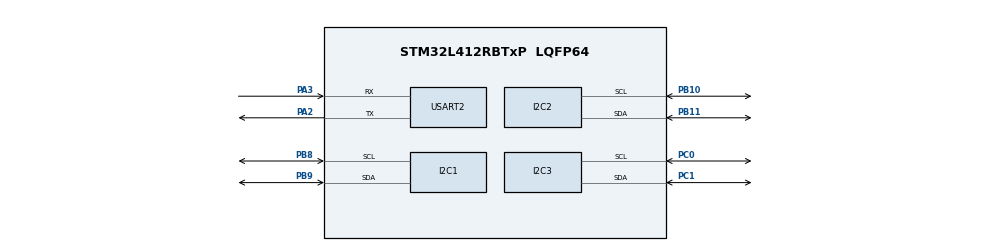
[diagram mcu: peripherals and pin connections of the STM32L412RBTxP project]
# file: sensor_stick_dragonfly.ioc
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Mcu.Family=STM32L4
Mcu.Name=STM32L412RBTxP
Mcu.Package=LQFP64
NVIC.I2C2_EV_IRQn=true\:0\:0\:false\:false\:true\:true\:true\:true
NVIC.I2C3_EV_IRQn=true\:0\:0\:false\:false\:true\:true\:true\:true
NVIC.PriorityGroup=NVIC_PRIORITYGROUP_4
PA2.Mode=Asynchronous
PA2.Signal=USART2_TX
PA3.Mode=Asynchronous
PA3.Signal=USART2_RX
PB10.Mode=I2C
PB10.Signal=I2C2_SCL
PB11.Mode=I2C
PB11.Signal=I2C2_SDA
PB8.Mode=I2C
PB8.Signal=I2C1_SCL
PB9.Mode=I2C
PB9.Signal=I2C1_SDA
PC0.Mode=I2C
PC0.Signal=I2C3_SCL
PC1.Mode=I2C
PC1.Signal=I2C3_SDA
ProjectManager.HeapSize=0x200
ProjectManager.StackSize=0x400
ProjectManager.TargetToolchain=STM32CubeIDE
RCC.ADCFreq_Value=4000000
RCC.HSE_VALUE=8000000
RCC.HSI48_VALUE=48000000
RCC.HSI_VALUE=16000000
RCC.LSE_VALUE=32768
RCC.MSI_VALUE=4000000
RCC.USBFreq_Value=4000000
RCC.VCOOutputFreq_Value=32000000
USART2.VirtualMode-Asynchronous=VM_ASYNC
board=custom

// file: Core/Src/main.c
/* USER CODE BEGIN Header */
/**
  ******************************************************************************
  * @file           : main.c
  * @brief          : Main program body
  ******************************************************************************
  * @attention
  *
  * Copyright (c) 2022 STMicroelectronics.
  * All rights reserved.
  *
  * This software is licensed under terms that can be found in the LICENSE file
  * in the root directory of this software component.
  * If no LICENSE file comes with this software, it is provided AS-IS.
  *
  ******************************************************************************
  */
/* USER CODE END Header */
#include "main.h"

/* USER CODE BEGIN Includes */
#include "iis2mdc_reg.h"
#include <stdio.h>
#include <stdlib.h>
#include <string.h>

/* USER CODE END Includes */

/* USER CODE BEGIN PTD */
typedef union {
	int16_t i16bit[3];
} axis3bit16_t;

/* USER CODE END PTD */

/* USER CODE BEGIN PD */
#define MAG_BUS hi2c1

#define    BOOT_TIME       20 //ms

#define SELF_TEST_SAMPLES 50

#define ST_MIN_POS    15.0f
#define ST_MAX_POS    500.0f
/* USER CODE END PD */

I2C_HandleTypeDef hi2c1;
I2C_HandleTypeDef hi2c2;
I2C_HandleTypeDef hi2c3;

UART_HandleTypeDef huart2;

/* USER CODE BEGIN PV */
static axis3bit16_t data_raw_magnetic[SELF_TEST_SAMPLES];
static float magnetic_mG[SELF_TEST_SAMPLES][3];
static uint8_t whoamI, rst;
static uint8_t tx_buffer[1000];

static const uint8_t DP_ADDR = 0x28<<1; // Use 8-bit address
static const uint8_t REG_DP = 0x00;

/* USER CODE END PV */

void SystemClock_Config(void);
static void MX_GPIO_Init(void);
static void MX_I2C1_Init(void);
static void MX_USART2_UART_Init(void);
static void MX_I2C3_Init(void);
static void MX_I2C2_Init(void);
/* USER CODE BEGIN PFP */
static int32_t platform_write(void *handle, uint8_t reg, const uint8_t *bufp, uint16_t len);
static int32_t platform_read(void *handle, uint8_t reg, uint8_t *bufp, uint16_t len);
static void tx_com(uint8_t *tx_buffer, uint16_t len);
static void platform_delay(uint32_t ms);
/* USER CODE END PFP */

/* USER CODE BEGIN 0 */
static inline float ABSF(float _x){
	return (_x < 0.0f) ? -(_x) : _x;
}

static int iis2mdc_flush_samples(stmdev_ctx_t *dev_ctx){
	uint8_t reg;
	axis3bit16_t dummy;
	int samples = 0;

	iis2mdc_mag_data_ready_get(dev_ctx, &reg);

	if(reg){
		iis2mdc_magnetic_raw_get(dev_ctx, dummy.i16bit);
		samples++;
	}

	return samples;
}

static int test_self_test_iis2mdc(stmdev_ctx_t *dev_ctx)
{
  uint8_t reg;
  float media[3] = { 0.0f, 0.0f, 0.0f };
  float mediast[3] = { 0.0f, 0.0f, 0.0f };
  uint8_t match[3] = { 0, 0, 0 };
  uint8_t j = 0;
  uint16_t i = 0;
  uint8_t k = 0;
  uint8_t axis;
  int result = 0;
  /* Restore default configuration */
  iis2mdc_reset_set(dev_ctx, PROPERTY_ENABLE);

  do {
    iis2mdc_reset_get(dev_ctx, &rst);
  } while (rst);

  iis2mdc_block_data_update_set(dev_ctx, PROPERTY_ENABLE);
  /* Set / Reset sensor mode */
  iis2mdc_set_rst_mode_set(dev_ctx, IIS2MDC_SENS_OFF_CANC_EVERY_ODR);
  /* Enable temperature compensation */
  iis2mdc_offset_temp_comp_set(dev_ctx, PROPERTY_ENABLE);
  /* Set device in continuous mode */
  iis2mdc_operating_mode_set(dev_ctx, IIS2MDC_CONTINUOUS_MODE);
  /* Set Output Data Rate to 100 Hz */
  iis2mdc_data_rate_set(dev_ctx, IIS2MDC_ODR_100Hz);
  /* Power up and wait for 20 ms for stable output */
  platform_delay(20);
  /* Flush old samples */
  iis2mdc_flush_samples(dev_ctx);

  do {
    iis2mdc_mag_data_ready_get(dev_ctx, &reg);

    if (reg) {
      /* Read magnetic field data */
      memset(data_raw_magnetic[i].i16bit, 0x00, 3 * sizeof(int16_t));
      iis2mdc_magnetic_raw_get(dev_ctx, data_raw_magnetic[i].i16bit);

      for (axis = 0; axis < 3; axis++)
        magnetic_mG[i][axis] =
          iis2mdc_from_lsb_to_mgauss(data_raw_magnetic[i].i16bit[axis]);

      i++;
    }
  } while (i < SELF_TEST_SAMPLES);

  for (k = 0; k < 3; k++) {
    for (j = 0; j < SELF_TEST_SAMPLES; j++) {
      media[k] += magnetic_mG[j][k];
    }

    media[k] = (media[k] / j);
  }

  /* Enable self test mode */
  iis2mdc_self_test_set(dev_ctx, PROPERTY_ENABLE);
  platform_delay(60);
  i = 0;
  /* Flush old samples */
  iis2mdc_flush_samples(dev_ctx);

  do {
    iis2mdc_mag_data_ready_get(dev_ctx, &reg);

    if (reg) {
      /* Read accelerometer data */
      memset(data_raw_magnetic[i].i16bit, 0x00, 3 * sizeof(int16_t));
      iis2mdc_magnetic_raw_get(dev_ctx, data_raw_magnetic[i].i16bit);

      for (axis = 0; axis < 3; axis++)
        magnetic_mG[i][axis] =
          iis2mdc_from_lsb_to_mgauss(data_raw_magnetic[i].i16bit[axis]);

      i++;
    }
  } while (i < SELF_TEST_SAMPLES);

  for (k = 0; k < 3; k++) {
    for (j = 0; j < SELF_TEST_SAMPLES; j++) {
      mediast[k] += magnetic_mG[j][k];
    }

    mediast[k] = (mediast[k] / j);
  }

  /* Check for all axis self test value range */
  for (k = 0; k < 3; k++) {
    if ((ABSF(mediast[k] - media[k]) >= ST_MIN_POS) &&
        (ABSF(mediast[k] - media[k]) <= ST_MAX_POS)) {
      match[k] = 1;
      result += 1;
    }

    sprintf((char *)tx_buffer, "%d: |%f| <= |%f| <= |%f| %s\r\n", k, ST_MIN_POS, ABSF(mediast[k] - media[k]), ST_MAX_POS, match[k] == 1 ? "PASSED" : "FAILED");
    tx_com( tx_buffer, strlen( (char const *)tx_buffer ) );
  }

  /* Disable self test mode */
  iis2mdc_operating_mode_set(dev_ctx, IIS2MDC_POWER_DOWN);
  iis2mdc_self_test_set(dev_ctx, PROPERTY_DISABLE);
  return result == 3 ? 0 : -1;
}
/* USER CODE END 0 */

int main(void)
{

  /* MCU Configuration--------------------------------------------------------*/

  /* Reset of all peripherals, Initializes the Flash interface and the Systick. */
  HAL_Init();

  /* Configure the system clock */
  SystemClock_Config();

  /* USER CODE BEGIN SysInit */
  stmdev_ctx_t dev_ctx;
  dev_ctx.write_reg = platform_write;
  dev_ctx.read_reg = platform_read;
  dev_ctx.handle = &MAG_BUS;
  /* USER CODE END SysInit */

  /* Initialize all configured peripherals */
  MX_GPIO_Init();
  MX_I2C1_Init();
  MX_USART2_UART_Init();
  MX_I2C3_Init();
  MX_I2C2_Init();
  /* USER CODE BEGIN 2 */

  platform_delay(BOOT_TIME);

  /* Check device id */
  iis2mdc_device_id_get(&dev_ctx, &whoamI);
  sprintf((char*) tx_buffer, "whoamI: %d\r\n", whoamI);
  tx_com(tx_buffer, strlen((char const *)tx_buffer));

  if (whoamI != IIS2MDC_ID) {
	  sprintf((char*) tx_buffer, "whoamI failed\r\n");
	  tx_com(tx_buffer, strlen((char const *)tx_buffer));
  }

  /* USER CODE END 2 */

  /* Infinite loop */
  /* USER CODE BEGIN WHILE */
  while (1)
  {
    test_self_test_iis2mdc(&dev_ctx);
    /* USER CODE END WHILE */

  }
}

void SystemClock_Config(void)
{
  RCC_OscInitTypeDef RCC_OscInitStruct = {0};
  RCC_ClkInitTypeDef RCC_ClkInitStruct = {0};

  /** Configure the main internal regulator output voltage
  */
  if (HAL_PWREx_ControlVoltageScaling(PWR_REGULATOR_VOLTAGE_SCALE1) != HAL_OK)
  {
    Error_Handler();
  }

  /** Initializes the RCC Oscillators according to the specified parameters
  * in the RCC_OscInitTypeDef structure.
  */
  RCC_OscInitStruct.OscillatorType = RCC_OSCILLATORTYPE_MSI;
  RCC_OscInitStruct.MSIState = RCC_MSI_ON;
  RCC_OscInitStruct.MSICalibrationValue = 0;
  RCC_OscInitStruct.MSIClockRange = RCC_MSIRANGE_6;
  RCC_OscInitStruct.PLL.PLLState = RCC_PLL_NONE;
  if (HAL_RCC_OscConfig(&RCC_OscInitStruct) != HAL_OK)
  {
    Error_Handler();
  }

  /** Initializes the CPU, AHB and APB buses clocks
  */
  RCC_ClkInitStruct.ClockType = RCC_CLOCKTYPE_HCLK|RCC_CLOCKTYPE_SYSCLK
                              |RCC_CLOCKTYPE_PCLK1|RCC_CLOCKTYPE_PCLK2;
  RCC_ClkInitStruct.SYSCLKSource = RCC_SYSCLKSOURCE_MSI;
  RCC_ClkInitStruct.AHBCLKDivider = RCC_SYSCLK_DIV1;
  RCC_ClkInitStruct.APB1CLKDivider = RCC_HCLK_DIV1;
  RCC_ClkInitStruct.APB2CLKDivider = RCC_HCLK_DIV1;

  if (HAL_RCC_ClockConfig(&RCC_ClkInitStruct, FLASH_LATENCY_0) != HAL_OK)
  {
    Error_Handler();
  }
}

static void MX_I2C1_Init(void)
{

  hi2c1.Instance = I2C1;
  hi2c1.Init.Timing = 0x00000E14;
  hi2c1.Init.OwnAddress1 = 0;
  hi2c1.Init.AddressingMode = I2C_ADDRESSINGMODE_7BIT;
  hi2c1.Init.DualAddressMode = I2C_DUALADDRESS_DISABLE;
  hi2c1.Init.OwnAddress2 = 0;
  hi2c1.Init.OwnAddress2Masks = I2C_OA2_NOMASK;
  hi2c1.Init.GeneralCallMode = I2C_GENERALCALL_DISABLE;
  hi2c1.Init.NoStretchMode = I2C_NOSTRETCH_DISABLE;
  if (HAL_I2C_Init(&hi2c1) != HAL_OK)
  {
    Error_Handler();
  }

  /** Configure Analogue filter
  */
  if (HAL_I2CEx_ConfigAnalogFilter(&hi2c1, I2C_ANALOGFILTER_ENABLE) != HAL_OK)
  {
    Error_Handler();
  }

  /** Configure Digital filter
  */
  if (HAL_I2CEx_ConfigDigitalFilter(&hi2c1, 0) != HAL_OK)
  {
    Error_Handler();
  }

}

static void MX_I2C2_Init(void)
{

  hi2c2.Instance = I2C2;
  hi2c2.Init.Timing = 0x00000E14;
  hi2c2.Init.OwnAddress1 = 0;
  hi2c2.Init.AddressingMode = I2C_ADDRESSINGMODE_7BIT;
  hi2c2.Init.DualAddressMode = I2C_DUALADDRESS_DISABLE;
  hi2c2.Init.OwnAddress2 = 0;
  hi2c2.Init.OwnAddress2Masks = I2C_OA2_NOMASK;
  hi2c2.Init.GeneralCallMode = I2C_GENERALCALL_DISABLE;
  hi2c2.Init.NoStretchMode = I2C_NOSTRETCH_DISABLE;
  if (HAL_I2C_Init(&hi2c2) != HAL_OK)
  {
    Error_Handler();
  }

  /** Configure Analogue filter
  */
  if (HAL_I2CEx_ConfigAnalogFilter(&hi2c2, I2C_ANALOGFILTER_ENABLE) != HAL_OK)
  {
    Error_Handler();
  }

  /** Configure Digital filter
  */
  if (HAL_I2CEx_ConfigDigitalFilter(&hi2c2, 0) != HAL_OK)
  {
    Error_Handler();
  }

}

static void MX_I2C3_Init(void)
{

  hi2c3.Instance = I2C3;
  hi2c3.Init.Timing = 0x00000E14;
  hi2c3.Init.OwnAddress1 = 0;
  hi2c3.Init.AddressingMode = I2C_ADDRESSINGMODE_7BIT;
  hi2c3.Init.DualAddressMode = I2C_DUALADDRESS_DISABLE;
  hi2c3.Init.OwnAddress2 = 0;
  hi2c3.Init.OwnAddress2Masks = I2C_OA2_NOMASK;
  hi2c3.Init.GeneralCallMode = I2C_GENERALCALL_DISABLE;
  hi2c3.Init.NoStretchMode = I2C_NOSTRETCH_DISABLE;
  if (HAL_I2C_Init(&hi2c3) != HAL_OK)
  {
    Error_Handler();
  }

  /** Configure Analogue filter
  */
  if (HAL_I2CEx_ConfigAnalogFilter(&hi2c3, I2C_ANALOGFILTER_ENABLE) != HAL_OK)
  {
    Error_Handler();
  }

  /** Configure Digital filter
  */
  if (HAL_I2CEx_ConfigDigitalFilter(&hi2c3, 0) != HAL_OK)
  {
    Error_Handler();
  }

}

static void MX_USART2_UART_Init(void)
{

  huart2.Instance = USART2;
  huart2.Init.BaudRate = 115200;
  huart2.Init.WordLength = UART_WORDLENGTH_8B;
  huart2.Init.StopBits = UART_STOPBITS_1;
  huart2.Init.Parity = UART_PARITY_NONE;
  huart2.Init.Mode = UART_MODE_TX_RX;
  huart2.Init.HwFlowCtl = UART_HWCONTROL_NONE;
  huart2.Init.OverSampling = UART_OVERSAMPLING_16;
  huart2.Init.OneBitSampling = UART_ONE_BIT_SAMPLE_DISABLE;
  huart2.AdvancedInit.AdvFeatureInit = UART_ADVFEATURE_NO_INIT;
  if (HAL_UART_Init(&huart2) != HAL_OK)
  {
    Error_Handler();
  }

}

static void MX_GPIO_Init(void)
{

  /* GPIO Ports Clock Enable */
  __HAL_RCC_GPIOC_CLK_ENABLE();
  __HAL_RCC_GPIOA_CLK_ENABLE();
  __HAL_RCC_GPIOB_CLK_ENABLE();

}

/* USER CODE BEGIN 4 */
static int32_t platform_write(void *handle, uint8_t reg, const uint8_t *bufp,
                              uint16_t len)
{
  HAL_I2C_Mem_Write(handle, IIS2MDC_I2C_ADD, reg, I2C_MEMADD_SIZE_8BIT, (uint8_t*) bufp, len, 1000);

  return 0;
}

/*
 * @brief  Read generic device register (platform dependent)
 *
 * @param  handle    customizable argument. In this examples is used in
 *                   order to select the correct sensor bus handler.
 * @param  reg       register to read
 * @param  bufp      pointer to buffer that store the data read
 * @param  len       number of consecutive register to read
 *
 */
static int32_t platform_read(void *handle, uint8_t reg, uint8_t *bufp,
                             uint16_t len)
{

  HAL_I2C_Mem_Read(handle, IIS2MDC_I2C_ADD, reg, I2C_MEMADD_SIZE_8BIT, bufp, len, 1000);

  return 0;
}

static void tx_com(uint8_t *tx_buffer, uint16_t len)
{
	HAL_UART_Transmit(&huart2, tx_buffer, len, 1000);

}

static void platform_delay(uint32_t ms){
	HAL_Delay(ms);
}
/* USER CODE END 4 */

void Error_Handler(void)
{
  __disable_irq();
  while (1)
  {
  }
}
